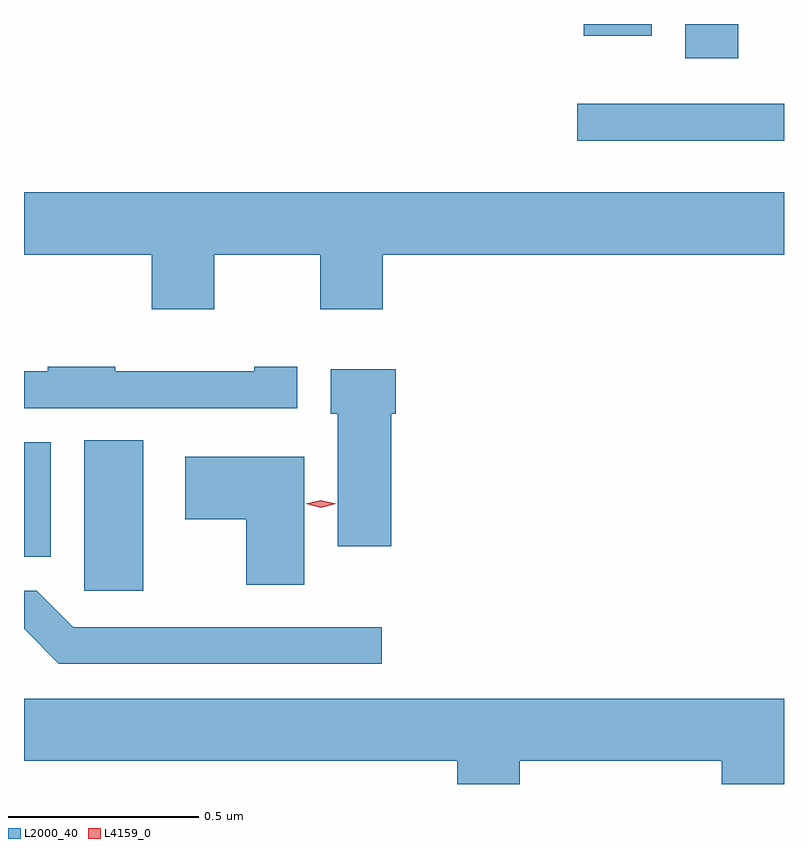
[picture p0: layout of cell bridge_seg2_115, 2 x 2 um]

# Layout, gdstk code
import gdstk
lib = gdstk.Library(unit=1e-6, precision=1e-09)
def R(c, l, rs):  # rectangles x0, y0, x1, y1
    for r in rs: c.add(gdstk.rectangle(r[:2], r[2:], *l))
def P(c, l, *ps):  # polygons
    for p in ps: c.add(gdstk.Polygon(p, *l))
L2000_40 = (2000, 40)
L4159_0 = (4159, 0)

bridge_seg2_115 = lib.new_cell('bridge_seg2_115')
R(bridge_seg2_115, L2000_40, [(456.182,660.072,456.337,660.467), (456.023,660.161,456.094,660.463), (457.479,661.256,458.023,661.353), (457.763,661.473,457.903,661.563), (457.496,661.532,457.675,661.563)])
P(bridge_seg2_115, L2000_40, [(456.523,660.956),(456.803,660.956),(456.803,660.813),(456.967,660.813),(456.967,660.956),(458.023,660.956),(458.023,661.12),(456.023,661.12),(456.023,660.956),(456.359,660.956),(456.359,660.813),(456.523,660.813)],
  [(456.742,660.661),(456.629,660.661),(456.629,660.649),(456.263,660.649),(456.263,660.661),(456.085,660.661),(456.085,660.649),(456.023,660.649),(456.023,660.552),(456.742,660.552)],
  [(456.989,660.537),(457.001,660.537),(457.001,660.655),(456.83,660.655),(456.83,660.537),(456.848,660.537),(456.848,660.189),(456.989,660.189)],
  [(456.76,660.424),(456.447,660.424),(456.447,660.26),(456.608,660.26),(456.608,660.087),(456.76,660.087)],
  [(456.964,659.976),(456.153,659.976),(456.057,660.072),(456.023,660.072),(456.023,659.971),(456.114,659.88),(456.964,659.88)],
  [(457.328,659.624),(457.859,659.624),(457.859,659.563),(458.023,659.563),(458.023,659.788),(456.023,659.788),(456.023,659.624),(457.163,659.624),(457.163,659.563),(457.328,659.563)])
P(bridge_seg2_115, L4159_0, [(456.804,660.29),(456.764,660.3),(456.763,660.3),(456.764,660.3),(456.804,660.31),(456.845,660.3),(456.845,660.3),(456.845,660.3)])

lib.write_gds('bridge_seg2_115.gds')
